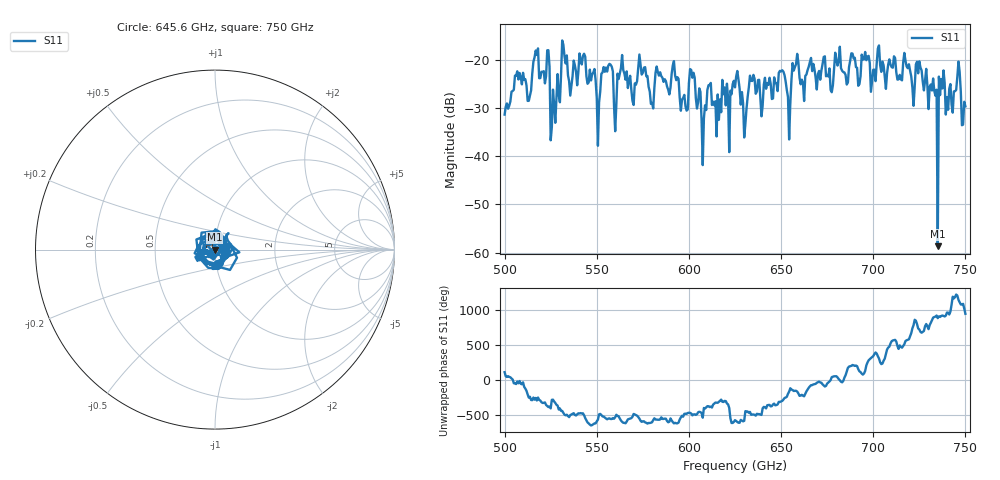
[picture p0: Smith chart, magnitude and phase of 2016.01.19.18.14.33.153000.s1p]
!Created with skrf (http://scikit-rf.org).
# GHz S RI R 50.0
!freq ReS11 ImS11
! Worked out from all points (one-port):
!   401 points, 500 GHz to 750 GHz, reference 50 ohm
!   lowest |S11| = -58.7 dB at 735 GHz (marker M1), VSWR 1.00, Z = 49.9 + j0.025 ohm
!   |S11| at or under -10 dB: start of sweep to end of sweep
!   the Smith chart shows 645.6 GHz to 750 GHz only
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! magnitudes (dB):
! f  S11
! 500 GHz  -31.4
! 506.9 GHz  -22.4
! 513.1 GHz  -28.5
! 516.9 GHz  -18.1
! 523.1 GHz  -18.0
! 526.2 GHz  -26.2
! 531.2 GHz  -16.0
! 542.5 GHz  -19.2
! 550.6 GHz  -37.8
! 562.5 GHz  -22.9
! 593.8 GHz  -23.6
! 598.1 GHz  -29.6
! 601.9 GHz  -23.7
! 608.1 GHz  -32.2
! 610.6 GHz  -25.3
! 616.2 GHz  -32.5
! 625 GHz  -25.7
! 630.6 GHz  -33.3
! 634.4 GHz  -24.4
! 650.6 GHz  -22.2
! 653.8 GHz  -27.7
! 656.2 GHz  -20.7
! 687.5 GHz  -20.2
! 718.8 GHz  -21.7
! 733.1 GHz  -26.5
! 735 GHz  -58.7
! 736.9 GHz  -24.0
! 750 GHz  -29.7
